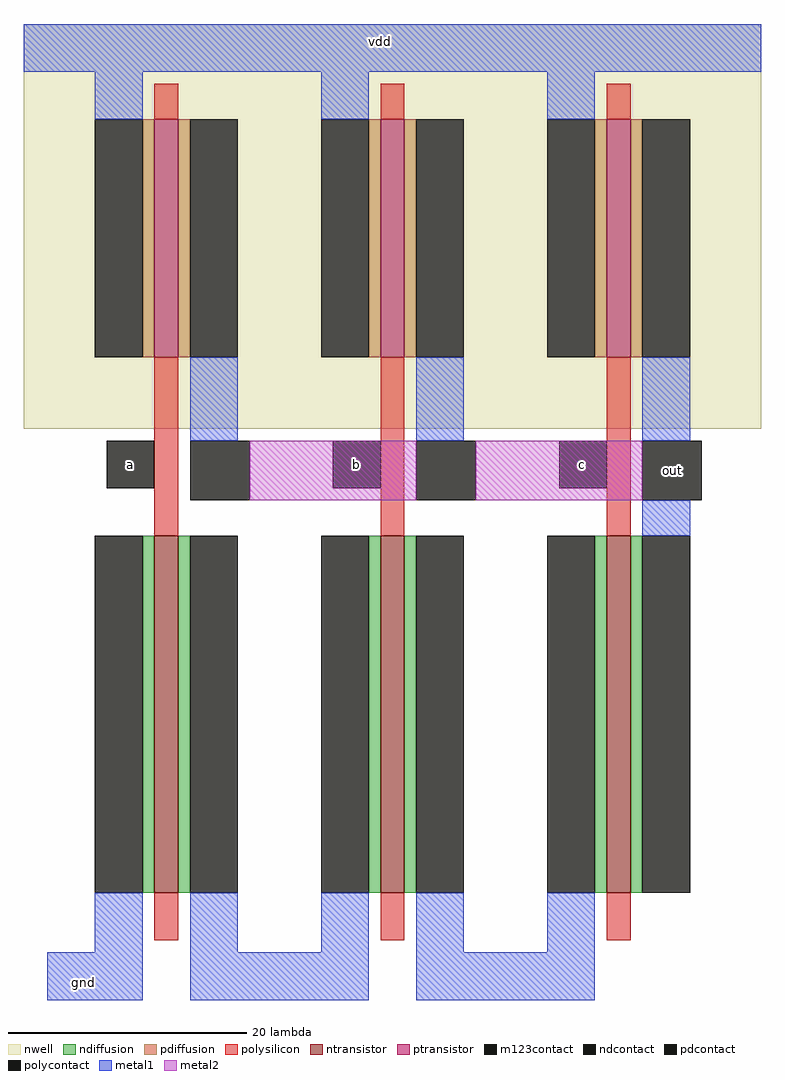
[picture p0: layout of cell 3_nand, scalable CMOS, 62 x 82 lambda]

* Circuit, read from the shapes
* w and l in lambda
.subckt 3_nand a b c gnd out vdd
M1 n1 a gnd VSUBS nfet w=30 l=2
M2 n2 b n1 VSUBS nfet w=30 l=2
M3 out c n2 VSUBS nfet w=30 l=2
M4 out a vdd n3 pfet w=20 l=2
M5 out b vdd n3 pfet w=20 l=2
M6 out c vdd n3 pfet w=20 l=2
.ends

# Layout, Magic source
magic
tech scmos
<< nwell >>
rect -84 47 -22 81
<< ntransistor >>
rect -73 8 -71 38
rect -54 8 -52 38
rect -35 8 -33 38
<< ptransistor >>
rect -73 53 -71 73
rect -54 53 -52 73
rect -35 53 -33 73
<< ndiffusion >>
rect -74 8 -73 38
rect -71 8 -70 38
rect -55 8 -54 38
rect -52 8 -51 38
rect -36 8 -35 38
rect -33 8 -32 38
<< pdiffusion >>
rect -74 53 -73 73
rect -71 53 -70 73
rect -55 53 -54 73
rect -52 53 -51 73
rect -36 53 -35 73
rect -33 53 -32 73
<< ndcontact >>
rect -78 8 -74 38
rect -70 8 -66 38
rect -59 8 -55 38
rect -51 8 -47 38
rect -40 8 -36 38
rect -32 8 -28 38
<< pdcontact >>
rect -78 53 -74 73
rect -70 53 -66 73
rect -59 53 -55 73
rect -51 53 -47 73
rect -40 53 -36 73
rect -32 53 -28 73
<< polysilicon >>
rect -73 73 -71 76
rect -54 73 -52 76
rect -35 73 -33 76
rect -73 38 -71 53
rect -54 38 -52 53
rect -35 38 -33 53
rect -73 4 -71 8
rect -54 4 -52 8
rect -35 4 -33 8
<< polycontact >>
rect -77 42 -73 46
rect -58 42 -54 46
rect -39 42 -35 46
<< metal1 >>
rect -84 77 -22 81
rect -78 73 -74 77
rect -59 73 -55 77
rect -40 73 -36 77
rect -70 46 -66 53
rect -51 46 -47 53
rect -32 46 -28 53
rect -32 38 -28 41
rect -78 3 -74 8
rect -82 -1 -74 3
rect -70 3 -66 8
rect -59 3 -55 8
rect -70 -1 -55 3
rect -51 3 -47 8
rect -40 3 -36 8
rect -51 -1 -36 3
<< metal2 >>
rect -65 41 -51 46
rect -46 41 -32 46
<< m123contact >>
rect -70 41 -65 46
rect -51 41 -46 46
rect -32 41 -27 46
<< labels >>
rlabel metal1 -81 0 -77 1 2 gnd
rlabel metal1 -56 79 -52 80 5 vdd
rlabel polycontact -77 42 -73 46 1 a
rlabel polycontact -58 42 -54 46 1 b
rlabel polycontact -39 42 -35 46 1 c
rlabel m123contact -32 41 -27 46 1 out
<< end >>
